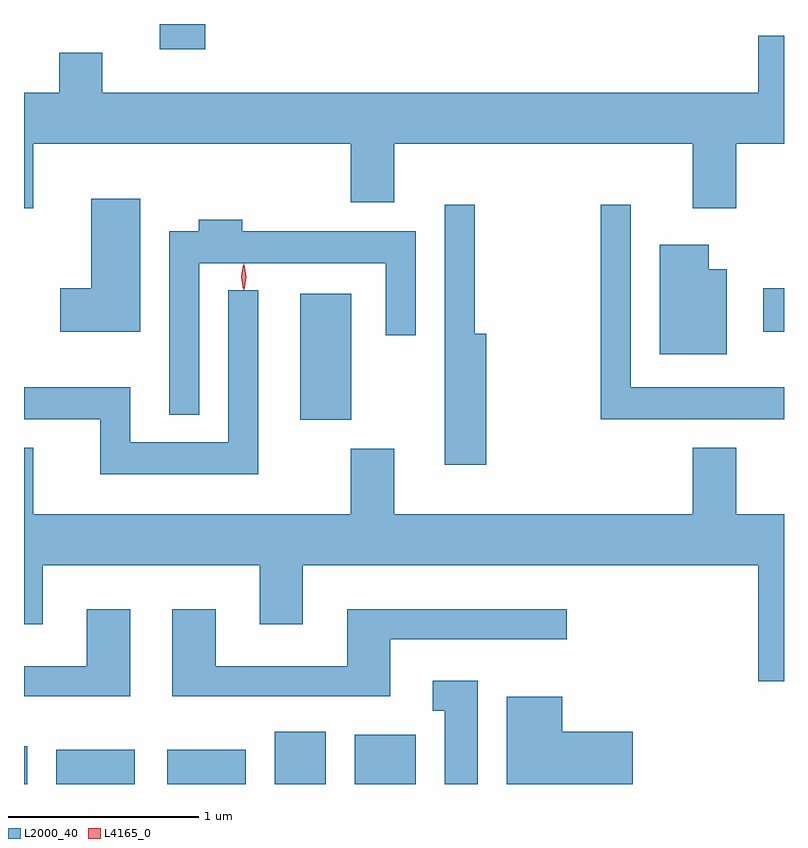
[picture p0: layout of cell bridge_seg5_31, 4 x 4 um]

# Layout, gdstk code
import gdstk
lib = gdstk.Library(unit=1e-6, precision=1e-09)
def R(c, l, rs):  # rectangles x0, y0, x1, y1
    for r in rs: c.add(gdstk.rectangle(r[:2], r[2:], *l))
def P(c, l, *ps):  # polygons
    for p in ps: c.add(gdstk.Polygon(p, *l))
L2000_40 = (2000, 40)
L4165_0 = (4165, 0)

bridge_seg5_31 = lib.new_cell('bridge_seg5_31')
R(bridge_seg5_31, L2000_40, [(1330.091,1473.405,1330.109,1473.604), (1330.261,1473.405,1330.674,1473.584), (1330.846,1473.405,1331.259,1473.584), (1331.411,1473.405,1331.679,1473.679), (1331.831,1473.405,1332.154,1473.664), (1331.546,1475.321,1331.814,1475.984), (1333.981,1475.786,1334.091,1476.014), (1330.806,1477.271,1331.044,1477.405)])
P(bridge_seg5_31, L2000_40, [(1330.504,1477.254),(1330.276,1477.254),(1330.276,1477.044),(1330.091,1477.044),(1330.091,1476.436),(1330.139,1476.436),(1330.139,1476.776),(1331.811,1476.776),(1331.811,1476.466),(1332.039,1476.466),(1332.039,1476.776),(1333.611,1476.776),(1333.611,1476.436),(1333.839,1476.436),(1333.839,1476.776),(1334.091,1476.776),(1334.091,1477.344),(1333.956,1477.344),(1333.956,1477.044),(1330.504,1477.044)],
  [(1330.704,1476.484),(1330.446,1476.484),(1330.446,1476.014),(1330.281,1476.014),(1330.281,1475.786),(1330.704,1475.786)],
  [(1332.524,1475.774),(1332.464,1475.774),(1332.464,1476.453),(1332.306,1476.453),(1332.306,1475.086),(1332.524,1475.086)],
  [(1334.091,1475.494),(1333.284,1475.494),(1333.284,1476.453),(1333.126,1476.453),(1333.126,1475.326),(1334.091,1475.326)],
  [(1331.014,1476.146),(1331.996,1476.146),(1331.996,1475.768),(1332.154,1475.768),(1332.154,1476.314),(1331.239,1476.314),(1331.239,1476.374),(1331.011,1476.374),(1331.011,1476.314),(1330.856,1476.314),(1330.856,1475.348),(1331.014,1475.348)],
  [(1333.789,1476.114),(1333.694,1476.114),(1333.694,1476.244),(1333.436,1476.244),(1333.436,1475.666),(1333.789,1475.666)],
  [(1331.324,1476.003),(1331.166,1476.003),(1331.166,1475.204),(1330.649,1475.204),(1330.649,1475.494),(1330.091,1475.494),(1330.091,1475.326),(1330.491,1475.326),(1330.491,1475.036),(1331.324,1475.036)],
  [(1334.091,1474.824),(1333.839,1474.824),(1333.839,1475.174),(1333.611,1475.174),(1333.611,1474.824),(1332.039,1474.824),(1332.039,1475.169),(1331.811,1475.169),(1331.811,1474.824),(1330.139,1474.824),(1330.139,1475.174),(1330.091,1475.174),(1330.091,1474.246),(1330.189,1474.246),(1330.189,1474.556),(1331.331,1474.556),(1331.331,1474.246),(1331.559,1474.246),(1331.559,1474.556),(1333.956,1474.556),(1333.956,1473.946),(1334.091,1473.946)],
  [(1332.019,1474.166),(1332.948,1474.166),(1332.948,1474.324),(1331.791,1474.324),(1331.791,1474.024),(1331.099,1474.024),(1331.099,1474.324),(1330.871,1474.324),(1330.871,1473.866),(1332.019,1473.866)],
  [(1330.649,1474.324),(1330.421,1474.324),(1330.421,1474.024),(1330.091,1474.024),(1330.091,1473.866),(1330.649,1473.866)],
  [(1332.479,1473.949),(1332.243,1473.949),(1332.243,1473.791),(1332.306,1473.791),(1332.306,1473.405),(1332.479,1473.405)],
  [(1333.294,1473.679),(1332.924,1473.679),(1332.924,1473.864),(1332.631,1473.864),(1332.631,1473.405),(1333.294,1473.405)])
P(bridge_seg5_31, L4165_0, [(1331.25,1476.003),(1331.249,1476.004),(1331.24,1476.073),(1331.25,1476.142),(1331.25,1476.143),(1331.251,1476.142),(1331.26,1476.073),(1331.25,1476.004)],
  [(1331.244,1476.007),(1331.235,1476.074),(1331.244,1476.14),(1331.245,1476.141),(1331.245,1476.14),(1331.255,1476.074),(1331.245,1476.007),(1331.245,1476.007)])

lib.write_gds('bridge_seg5_31.gds')
